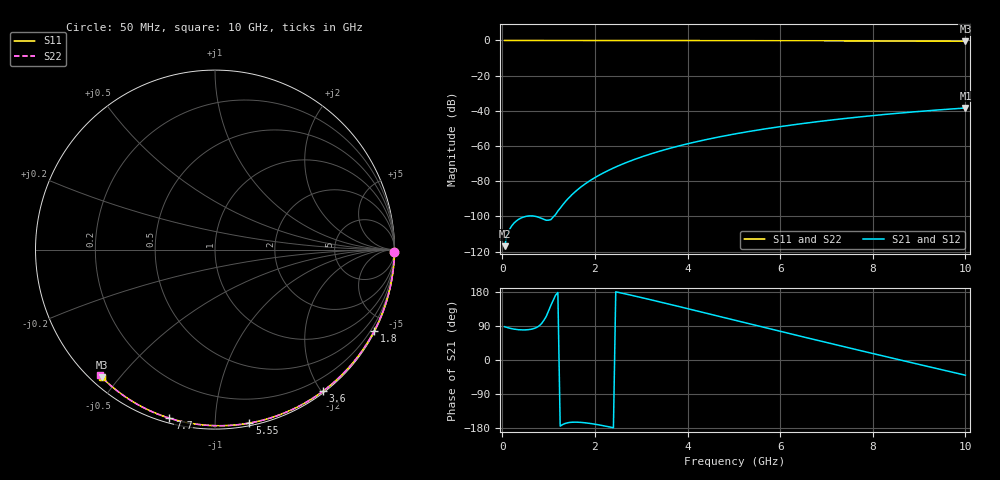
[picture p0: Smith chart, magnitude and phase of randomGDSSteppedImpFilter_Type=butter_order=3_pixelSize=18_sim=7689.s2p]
! freq	dB(S11)	phase(S11)	dB(S12)	phase(S12)
!  dB(S21)	phase(S21)	dB(S22)	phase(S22)
!S-par simulation data
#  GHz  S  DB  R 50
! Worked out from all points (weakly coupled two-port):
!   200 points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, 50 MHz to 10 GHz, reference 50 ohm
!   highest |S21| = -38.40 dB at 10 GHz (marker M1); lowest = -117.0 dB at 50 MHz (marker M2)
!   lowest |S11| = -0.4 dB at 10 GHz (marker M3), VSWR 39.12, Z = 1.54 - j22.5 ohm
!   |S11| at or under -10 dB: nowhere
!   |S22| runs from -0.4 to 0.0 dB; largest |S21 - S12| = 0
!   S11 on the Smith chart (normalised r, x): 50 MHz: open; 1.8 GHz: 0.04, -4.17; 3.6 GHz: 0.02, -2.02; 5.55 GHz: 0.02, -1.22; 7.7 GHz: 0.02, -0.76; 10 GHz: 0.03, -0.45
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0.05  -0.00 -0.8  -116.96 87.9  -116.96 87.9  -0.00 -0.8
0.9  -0.02 -13.6  -101.78 105.1  -101.78 105.1  -0.02 -13.7
1.75  -0.03 -26.2  -82.29 -165.2  -82.29 -165.2  -0.03 -26.4
1.8  -0.03 -27.0  -81.35 -165.9  -81.35 -165.9  -0.03 -27.1
1.85  -0.04 -27.7  -80.45 -166.6  -80.45 -166.6  -0.04 -27.9
1.9  -0.04 -28.4  -79.59 -167.5  -79.59 -167.5  -0.04 -28.6
2.05  -0.04 -30.6  -77.21 -170.5  -77.21 -170.5  -0.04 -30.8
2.25  -0.04 -33.5  -74.40 -175.0  -74.40 -175.0  -0.04 -33.7
2.45  -0.05 -36.4  -71.92 180.0  -71.92 180.0  -0.05 -36.7
2.65  -0.05 -39.3  -69.70 174.6  -69.70 174.6  -0.05 -39.6
3  -0.06 -44.3  -66.28 164.9  -66.28 164.9  -0.06 -44.6
3.4  -0.07 -49.9  -62.94 153.3  -62.94 153.3  -0.07 -50.2
3.6  -0.07 -52.7  -61.45 147.5  -61.45 147.5  -0.07 -53.0
4.3  -0.09 -62.3  -56.94 126.6  -56.94 126.6  -0.09 -62.7
5.05  -0.11 -72.3  -53.02 104.1  -53.02 104.1  -0.11 -72.7
5.55  -0.13 -78.8  -50.79 89.2  -50.79 89.2  -0.13 -79.2
6.1  -0.15 -85.7  -48.62 72.8  -48.62 72.8  -0.15 -86.2
6.7  -0.18 -93.2  -46.52 55.0  -46.52 55.0  -0.18 -93.7
7.7  -0.24 -105.2  -43.52 25.8  -43.52 25.8  -0.24 -105.8
8.35  -0.29 -112.8  -41.85 7.0  -41.85 7.0  -0.29 -113.5
9.15  -0.36 -122.0  -40.04 -16.0  -40.04 -16.0  -0.36 -122.7
10  -0.44 -131.6  -38.40 -40.1  -38.40 -40.1  -0.45 -132.4
